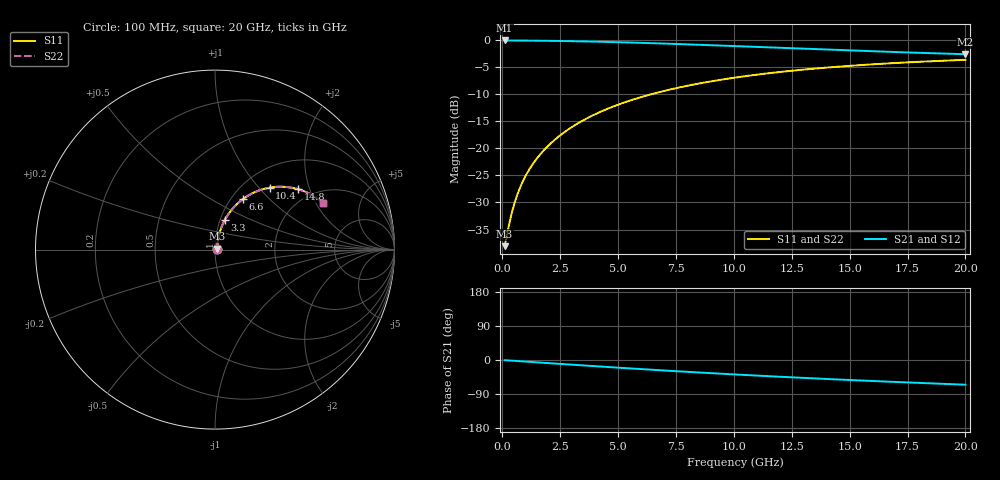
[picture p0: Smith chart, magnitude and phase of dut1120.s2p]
! Touchstone file exported from HFSS 2026.1.0
!  File:  C:/ffzhzh/LocalFiles/Ansys_Project_Files/temp_train_TMRDL_1120_1783161581_55132.aedt
!  Generated:  06:41:16 PM Jul  4, 2026
!  Design:  TMRDL
!  Project:  temp_train_TMRDL_1120_1783161581_55132
! Variables:
!  h_bsmrdl = 2um
!  h_ox = 20um
!  h_rdl = 5um
!  h_sub = 80um
!  h_tmrdl = 2.61um
!  h_tsv = 80um
!  h_via = 3um
!  l_bsmrdl = 300um
!  l_sub = 1371.74um
!  l_tmrdl = 971.74um
!  m_sub = 200um
!  pitch = 47.67um
!  r_tsv = 6um
!  s_tmrdl = 10um
!  w_bsmrdl = 18um
!  w_sub = 500um
!  w_tmrdl = 11.59um
!  x_tsv_center1 = 977.535um
!  x_tsv_center2 = 1295.535um
!  x_tsv_center3 = 2278.865um
!  x_tsv_center4 = 2596.865um
!  x_tsv_center5 = 3580.195um
!  x_tsv_center6 = 3898.195um
# GHz S MA R 50.000000
! Terminal data exported
! Port[1] = TM_RDL1_1_T1
! Port[2] = TM_RDL1_1_T2
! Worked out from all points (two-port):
!   200 points, 100 MHz to 20 GHz, reference 50 ohm
!   highest |S21| = -0.10 dB at 100 MHz (marker M1); lowest = -2.6 dB at 20 GHz (marker M2)
!   |S21| within 3 dB of the highest: start of sweep to end of sweep
!   lowest |S11| = -38.1 dB at 100 MHz (marker M3), VSWR 1.03, Z = 51.1 + j0.557 ohm
!   |S11| at or under -10 dB: start of sweep to 6.456 GHz
!   |S22| runs from -38.1 to -3.7 dB; largest |S21 - S12| = 6.1e-15
!   S11 on the Smith chart (normalised r, x): 100 MHz: 1.02, +0.01; 3.3 GHz: 1.05, +0.35; 6.6 GHz: 1.13, +0.71; 10.4 GHz: 1.31, +1.14; 14.8 GHz: 1.67, +1.68; 20 GHz: 2.52, +2.29
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0.1  0.01248 25.9  0.9888 -0.4  0.9888 -0.4  0.01248 25.9
! Gamma 0 0 0 0
! Port Impedance 50 0 50 0
0.3  0.02007 54.1  0.9885 -1.3  0.9885 -1.3  0.02007 54.1
0.4  0.0248 60.6  0.9882 -1.7  0.9882 -1.7  0.0248 60.6
0.5  0.02975 64.7  0.9879 -2.1  0.9879 -2.1  0.02975 64.7
0.6  0.03479 67.5  0.9876 -2.5  0.9876 -2.5  0.03479 67.5
0.8  0.04498 70.9  0.9869 -3.4  0.9869 -3.4  0.04498 70.9
1.1  0.06034 73.4  0.9857 -4.6  0.9857 -4.6  0.06034 73.4
1.5  0.08082 74.5  0.9839 -6.3  0.9839 -6.3  0.08082 74.5
2  0.1063 74.5  0.9812 -8.3  0.9812 -8.3  0.1063 74.5
2.6  0.1367 73.6  0.9772 -10.7  0.9772 -10.7  0.1367 73.6
3.3  0.1715 71.8  0.9715 -13.6  0.9715 -13.6  0.1715 71.8
3.5  0.1813 71.2  0.9696 -14.4  0.9696 -14.4  0.1813 71.2
4.9  0.2478 66.8  0.9544 -19.9  0.9544 -19.9  0.2478 66.8
6.6  0.3222 61.0  0.9315 -26.3  0.9315 -26.3  0.3222 61.0
6.8  0.3305 60.4  0.9286 -27.0  0.9286 -27.0  0.3305 60.3
8.3  0.3889 55.3  0.9054 -32.3  0.9054 -32.3  0.3889 55.3
10.1  0.4506 49.5  0.8761 -38.3  0.8761 -38.3  0.4506 49.5
10.4  0.4601 48.6  0.8712 -39.3  0.8712 -39.3  0.46 48.6
13.4  0.5416 39.8  0.8232 -48.4  0.8232 -48.4  0.5416 39.8
14.8  0.5724 36.0  0.8023 -52.3  0.8023 -52.3  0.5724 36.0
16.7  0.6079 31.2  0.7763 -57.2  0.7763 -57.2  0.6079 31.1
20  0.6547 23.4  0.7382 -65.2  0.7382 -65.2  0.6547 23.4
